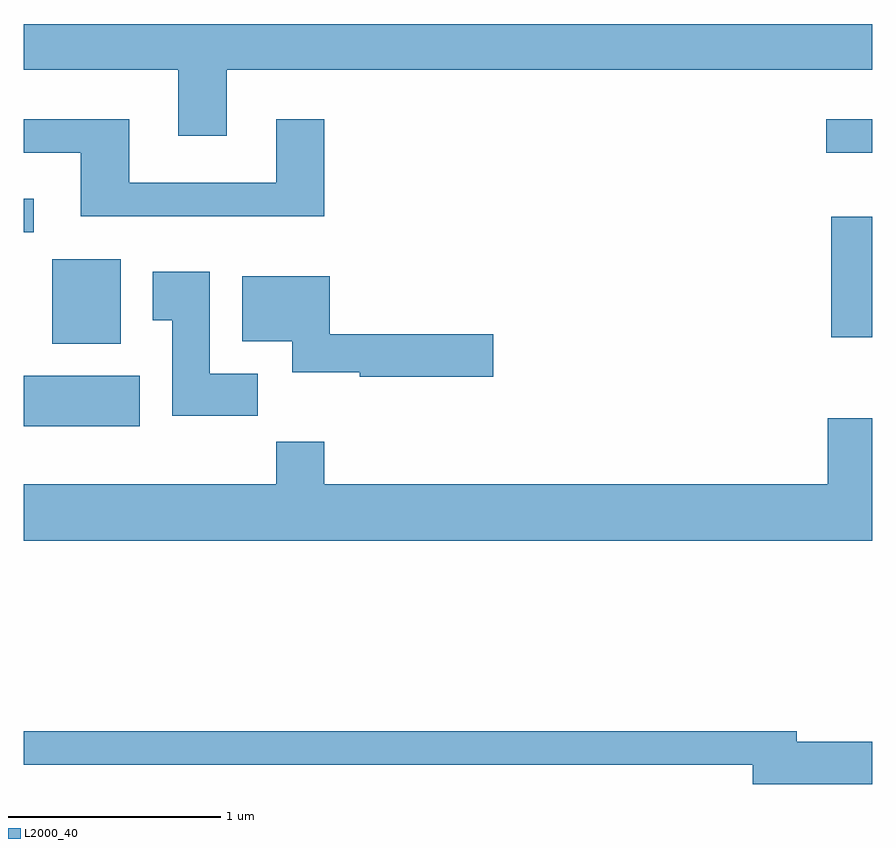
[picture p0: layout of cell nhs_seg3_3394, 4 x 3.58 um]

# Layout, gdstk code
import gdstk
lib = gdstk.Library(unit=1e-6, precision=1e-09)
def R(c, l, rs):  # rectangles x0, y0, x1, y1
    for r in rs: c.add(gdstk.rectangle(r[:2], r[2:], *l))
def P(c, l, *ps):  # polygons
    for p in ps: c.add(gdstk.Polygon(p, *l))
L2000_40 = (2000, 40)

nhs_seg3_3394 = lib.new_cell('nhs_seg3_3394')
R(nhs_seg3_3394, L2000_40, [(283.611,1241.996,284.159,1242.234), (283.746,1242.386,284.069,1242.784), (287.416,1242.416,287.611,1242.984), (283.611,1242.911,283.658,1243.069), (287.393,1243.286,287.611,1243.444)])
P(nhs_seg3_3394, L2000_40, [(284.569,1243.676),(287.611,1243.676),(287.611,1243.892),(283.611,1243.892),(283.611,1243.676),(284.341,1243.676),(284.341,1243.366),(284.569,1243.366)],
  [(285.029,1243.444),(284.801,1243.444),(284.801,1243.144),(284.109,1243.144),(284.109,1243.444),(283.611,1243.444),(283.611,1243.286),(283.881,1243.286),(283.881,1242.986),(285.029,1242.986)],
  [(284.714,1242.244),(284.489,1242.244),(284.489,1242.724),(284.221,1242.724),(284.221,1242.496),(284.311,1242.496),(284.311,1242.046),(284.714,1242.046)],
  [(285.824,1242.429),(285.054,1242.429),(285.054,1242.704),(284.641,1242.704),(284.641,1242.396),(284.876,1242.396),(284.876,1242.251),(285.196,1242.251),(285.196,1242.231),(285.824,1242.231)],
  [(287.611,1242.034),(287.401,1242.034),(287.401,1241.724),(285.029,1241.724),(285.029,1241.924),(284.801,1241.924),(284.801,1241.724),(283.611,1241.724),(283.611,1241.456),(287.611,1241.456)],
  [(287.611,1240.509),(287.254,1240.509),(287.254,1240.559),(283.611,1240.559),(283.611,1240.401),(287.046,1240.401),(287.046,1240.311),(287.611,1240.311)])

lib.write_gds('nhs_seg3_3394.gds')
